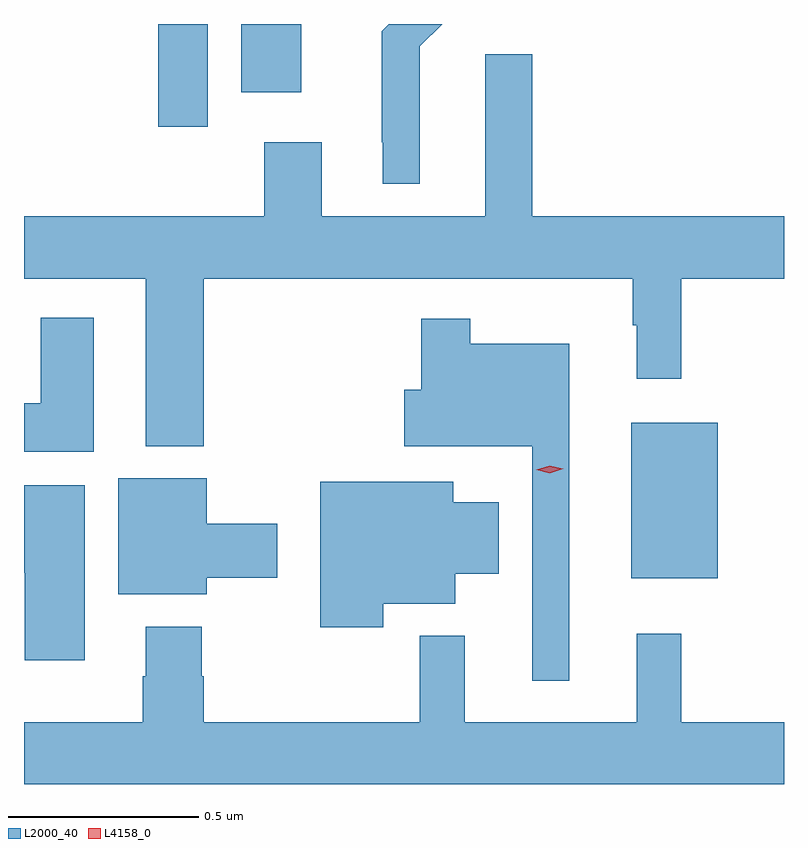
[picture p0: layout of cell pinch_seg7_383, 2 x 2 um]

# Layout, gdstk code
import gdstk
lib = gdstk.Library(unit=1e-6, precision=1e-09)
def R(c, l, rs):  # rectangles x0, y0, x1, y1
    for r in rs: c.add(gdstk.rectangle(r[:2], r[2:], *l))
def P(c, l, *ps):  # polygons
    for p in ps: c.add(gdstk.Polygon(p, *l))
L2000_40 = (2000, 40)
L4158_0 = (4158, 0)

pinch_seg7_383 = lib.new_cell('pinch_seg7_383')
R(pinch_seg7_383, L2000_40, [(434.117,1009.151,434.344,1009.561), (432.872,1010.34,433.003,1010.61), (433.091,1010.43,433.249,1010.61)])
P(pinch_seg7_383, L2000_40, [(433.561,1010.552),(433.619,1010.61),(433.479,1010.61),(433.46,1010.591),(433.46,1010.299),(433.463,1010.299),(433.463,1010.189),(433.561,1010.189)],
  [(432.992,1009.94),(434.121,1009.94),(434.121,1009.817),(434.132,1009.817),(434.132,1009.677),(434.249,1009.677),(434.249,1009.94),(434.519,1009.94),(434.519,1010.104),(433.856,1010.104),(433.856,1010.53),(433.733,1010.53),(433.733,1010.104),(433.303,1010.104),(433.303,1010.299),(433.151,1010.299),(433.151,1010.104),(432.519,1010.104),(432.519,1009.94),(432.839,1009.94),(432.839,1009.499),(432.992,1009.499)],
  [(432.703,1009.837),(432.563,1009.837),(432.563,1009.612),(432.519,1009.612),(432.519,1009.484),(432.703,1009.484)],
  [(433.954,1009.768),(433.693,1009.768),(433.693,1009.834),(433.564,1009.834),(433.564,1009.647),(433.52,1009.647),(433.52,1009.499),(433.857,1009.499),(433.857,1008.882),(433.954,1008.882)],
  [(433,1009.153),(433.186,1009.153),(433.186,1009.295),(433,1009.295),(433,1009.414),(432.767,1009.414),(432.767,1009.109),(433,1009.109)],
  [(433.464,1009.085),(433.654,1009.085),(433.654,1009.163),(433.768,1009.163),(433.768,1009.351),(433.648,1009.351),(433.648,1009.405),(433.298,1009.405),(433.298,1009.023),(433.464,1009.023)],
  [(432.679,1009.396),(432.519,1009.396),(432.519,1009.166),(432.521,1009.166),(432.521,1008.936),(432.679,1008.936)],
  [(434.519,1008.772),(434.249,1008.772),(434.249,1009.006),(434.132,1009.006),(434.132,1008.772),(433.679,1008.772),(433.679,1009),(433.561,1009),(433.561,1008.772),(432.992,1008.772),(432.992,1008.893),(432.987,1008.893),(432.987,1009.024),(432.839,1009.024),(432.839,1008.893),(432.832,1008.893),(432.832,1008.772),(432.519,1008.772),(432.519,1008.61),(434.519,1008.61)])
P(pinch_seg7_383, L4158_0, [(433.903,1009.428),(433.867,1009.437),(433.867,1009.437),(433.867,1009.437),(433.902,1009.448),(433.938,1009.44),(433.938,1009.44),(433.938,1009.44)])

lib.write_gds('pinch_seg7_383.gds')
